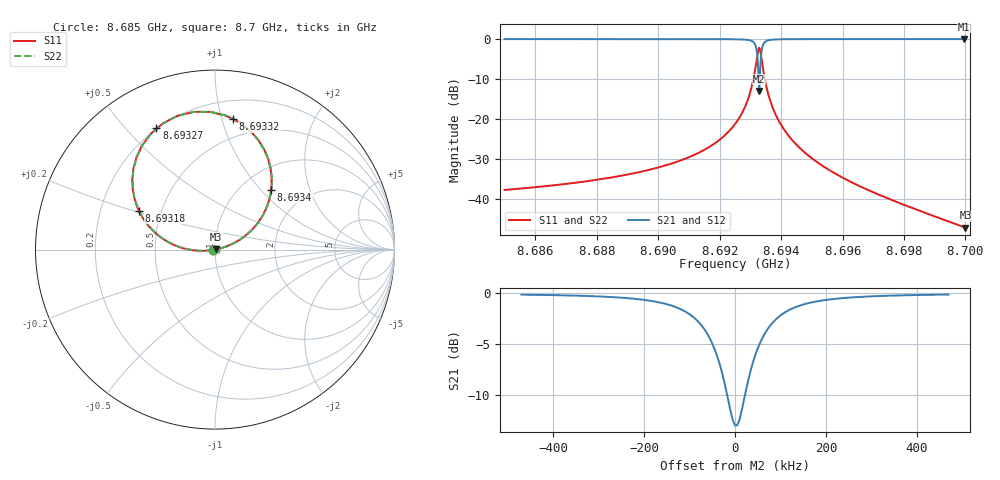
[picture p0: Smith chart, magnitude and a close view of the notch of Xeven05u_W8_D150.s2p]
! Sonnet Data File
! From: emgraph Version : 16.52
! From Project: Qubit_Xmon2_brg_para
! Data is De-embedded
! Data File Written: 11/12/2017 17:09:26
!< HDATE 11/12/2017 00:17:19
!< MDATE 11/12/2017 00:17:19
!< PARAMS
!< Lj = 11.0
!< Gap = 6.0
!< Pwid = 2000.0
!< Airgap = 6.0
!< Width = 10.0
!< Bwid = 8.0
!< Dis1 = 150.0
!< Dis2 = 156.0
!< END PARAMS
# GHZ S MA R 51.80000
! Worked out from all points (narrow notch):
!   3001 points, 8.685 GHz to 8.7 GHz, reference 51.8 ohm
!   highest |S21| = 0.00 dB at 8.69996 GHz (marker M1); lowest = -13.0 dB at 8.69328 GHz (marker M2)
!   notch at M2: 13.0 dB deep, 78.6 kHz wide at half that depth
!   lowest |S11| = -47.2 dB at 8.7 GHz (marker M3), VSWR 1.01, Z = 52.2 + j0.095 ohm
!   |S11| at or under -10 dB: start of sweep to 8.693099 GHz; 8.69347 GHz to end of sweep
!   |S22| runs from -47.2 to -2.2 dB; largest |S21 - S12| = 0
!   S11 on the Smith chart (normalised r, x): 8.685 GHz: 0.97, -0.00; 8.69318 GHz: 0.37, +0.21; 8.69327 GHz: 0.20, +0.61; 8.69332 GHz: 0.34, +1.09; 8.6934 GHz: 1.36, +1.14; 8.7 GHz: 1.01, +0.00
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8.685  0.01292 -170.5  0.9999 -80.2  0.9999 -80.2  0.01292 -170.0
!< P1 F=8.685 Eeff=(6.4468387 -2.9786e-5) Z0=(51.799366 1.19075e-4) R=0.0 C=0.0
!< P2 F=8.685 Eeff=(6.4468387 -2.9786e-5) Z0=(51.799366 1.19075e-4) R=0.0 C=0.0
8.6875  0.01626 -170.7  0.9998 -80.4  0.9998 -80.4  0.01626 -170.4
8.69  0.02467 -171.2  0.9996 -80.9  0.9996 -80.9  0.02467 -171.1
8.69154  0.04181 -172.4  0.9987 -81.9  0.9987 -81.9  0.04181 -172.4
8.6925  0.08608 -175.6  0.9944 -84.4  0.9944 -84.4  0.08608 -175.7
8.6928  0.1347 -179.3  0.986 -87.2  0.986 -87.2  0.1347 -179.4
8.69302  0.2337 173.2  0.9567 -93.0  0.9567 -93.0  0.2337 173.1
8.693115  0.3395 164.8  0.9057 -99.2  0.9057 -99.2  0.3395 164.7
8.69318  0.4765 152.9  0.803 -107.5  0.803 -107.5  0.4765 152.8
8.69322  0.6038 139.8  0.6545 -115.1  0.6545 -115.1  0.6037 139.6
8.693265  0.7504 115.8  0.3387 -115.0  0.3387 -115.0  0.7503 115.6
8.693285  0.7766 102.3  0.2249 -85.3  0.2249 -85.3  0.7766 102.1
8.693315  0.736 82.1  0.3819 -41.8  0.3819 -41.8  0.7359 81.9
8.6934  0.4558 46.7  0.8189 -52.8  0.8189 -52.8  0.4558 46.5
8.693465  0.3231 35.3  0.9132 -60.8  0.9132 -60.8  0.3231 35.1
8.69355  0.2282 27.9  0.9575 -66.3  0.9575 -66.3  0.2281 27.6
8.693915  0.09616 17.9  0.9924 -74.0  0.9924 -74.0  0.09615 17.7
8.69437  0.05387 14.8  0.9975 -76.4  0.9975 -76.4  0.05387 14.5
8.695  0.0322 13.3  0.9991 -77.7  0.9991 -77.7  0.0322 12.8
8.6975  0.01002 11.9  0.9999 -79.0  0.9999 -79.0  0.01002 11.0
8.69996  0.004411 12.0  1 -79.3  1 -79.3  0.00441 10.1
8.7  0.004354 12.0  1 -79.3  1 -79.3  0.004353 10.1
